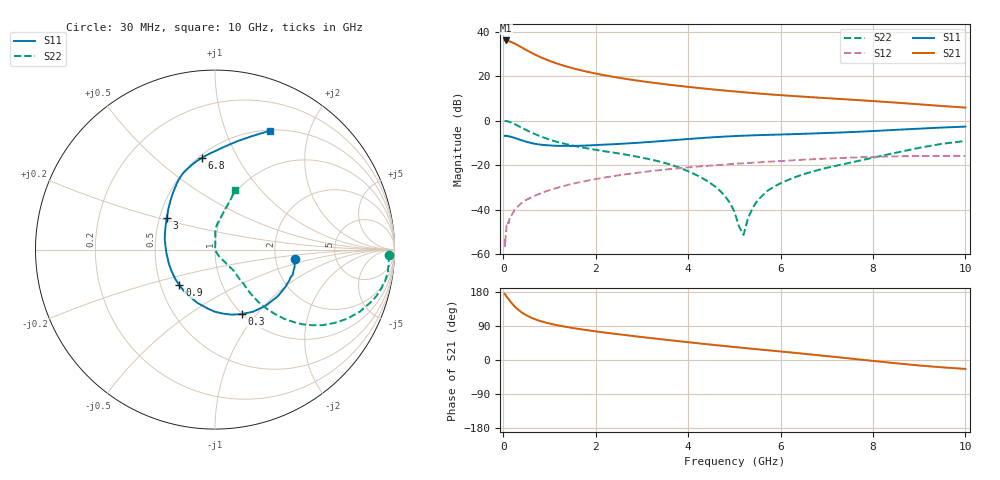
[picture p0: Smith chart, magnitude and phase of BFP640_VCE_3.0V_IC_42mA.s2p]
! Infineon Technologies  Discrete & RF Semiconductors
! BFP640
! VCE =  3.0 V,  IC =  42 mA
! Common Emitter S-Parameters:  Apr 2013
# GHz  S  MA  R  50
!  f  S11  S21  S12  S22
! GHz  MAG  ANG  MAG  ANG  MAG  ANG  MAG  ANG
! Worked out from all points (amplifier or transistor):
!   99 points, 30 MHz to 10 GHz, reference 50 ohm
!   highest |S21| = 36.0 dB at 50 MHz (marker M1)
!   |S21| within 3 dB of that: start of sweep to 388 MHz
!   unconditionally stable (mu >= 1): 1.823 GHz to end of sweep
!   at 350 MHz: K = 0.45, MSG = 35.7 dB, |S12| = -37.9 dB
!   at 3.5 GHz: K = 1.06, MAG = 17.7 dB, |S12| = -22.0 dB
!   at 10 GHz: K = 1.06, MAG = 9.3 dB, |S12| = -15.9 dB
!   S11 on the Smith chart (normalised r, x): 30 MHz: 2.59, -0.36; 300 MHz: 1.00, -0.84; 900 MHz: 0.62, -0.27; 3 GHz: 0.55, +0.21; 6.8 GHz: 0.52, +0.72; 10 GHz: 0.51, +1.44
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0.03  0.4513 -7.0  62.55 174.7  0.0021 84.1  0.9674 -1.7
0.05  0.454 -12.5  63.01 171.7  0.0022 85.4  0.9719 -5.0
0.09  0.4491 -22.7  62.14 164.6  0.0043 76.5  0.9638 -10.4
0.15  0.434 -37.6  59.42 155.1  0.0067 76.6  0.922 -18.0
0.2  0.4207 -48.5  56.57 147.7  0.008 72.5  0.8772 -23.3
0.25  0.406 -58.3  53.61 141.2  0.01 71.7  0.8287 -27.8
0.3  0.3892 -67.4  50.23 135.3  0.0112 72.8  0.7792 -31.7
0.35  0.3741 -75.7  46.85 130.2  0.0127 70.3  0.7322 -35.1
0.45  0.3465 -89.9  40.98 121.6  0.0151 68.3  0.6478 -40.1
0.6  0.3131 -107.9  33.73 112.0  0.0186 65.9  0.543 -45.1
0.7  0.2979 -118.0  29.88 107.1  0.0207 65.6  0.4893 -47.1
0.9  0.2803 -135.1  24.16 99.4  0.0252 64.7  0.4059 -49.7
1.2  0.2697 -154.9  18.55 91.0  0.0314 63.6  0.3243 -51.0
1.7  0.2719 -177.8  13.33 80.8  0.042 60.8  0.2493 -50.1
2.2  0.2875 166.5  10.37 72.4  0.0526 57.4  0.2031 -50.1
3  0.3205 147.1  7.64 60.6  0.069 51.2  0.1462 -48.8
3.4  0.3443 139.1  6.742 55.0  0.0769 47.7  0.1179 -50.3
5.1  0.4516 114.7  4.413 33.1  0.1078 32.6  0.0042 -44.1
6.7  0.5118 99.5  3.33 14.1  0.1347 18.3  0.0717 88.8
6.8  0.5158 98.3  3.277 12.8  0.1364 17.2  0.0764 88.9
8.5  0.6178 78.2  2.523 -8.7  0.1568 -0.0  0.1893 79.1
10  0.7295 65.1  1.953 -23.5  0.1612 -12.0  0.3476 71.7
